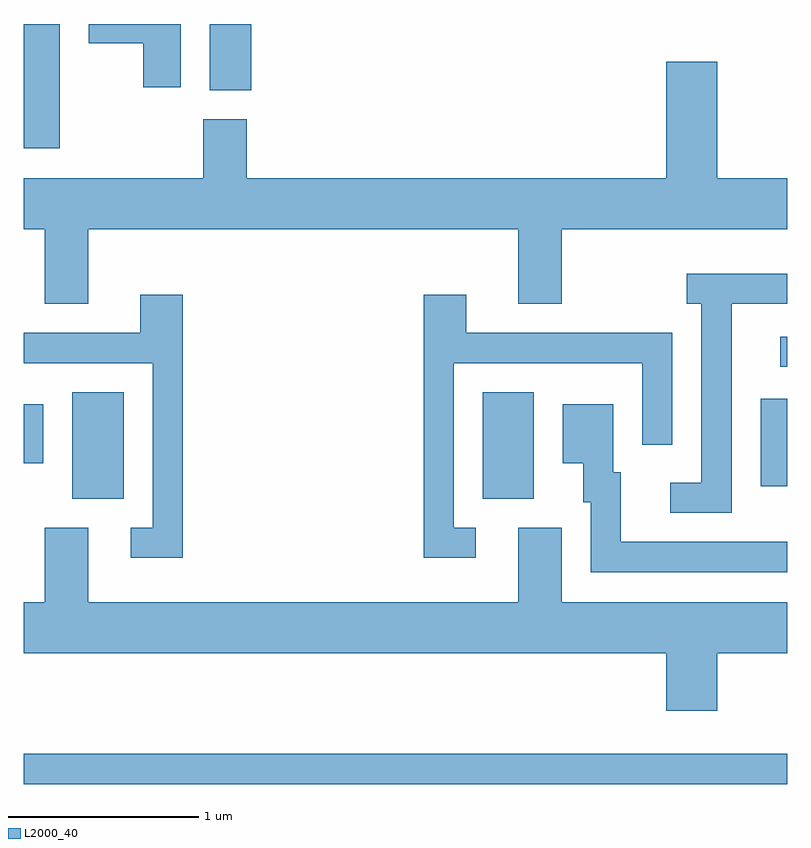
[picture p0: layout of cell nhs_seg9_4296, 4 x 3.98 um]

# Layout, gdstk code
import gdstk
lib = gdstk.Library(unit=1e-6, precision=1e-09)
def R(c, l, rs):  # rectangles x0, y0, x1, y1
    for r in rs: c.add(gdstk.rectangle(r[:2], r[2:], *l))
def P(c, l, *ps):  # polygons
    for p in ps: c.add(gdstk.Polygon(p, *l))
L2000_40 = (2000, 40)

nhs_seg9_4296 = lib.new_cell('nhs_seg9_4296')
R(nhs_seg9_4296, L2000_40, [(311.611,2004.451,315.611,2004.609), (311.866,2005.946,312.134,2006.504), (314.016,2005.946,314.284,2006.504), (315.471,2006.011,315.611,2006.469), (311.611,2006.131,311.714,2006.439), (315.573,2006.636,315.611,2006.794), (311.611,2007.781,311.799,2008.432), (312.586,2008.086,312.804,2008.432), (313.316,2008.431,313.944,2008.432)])
P(nhs_seg9_4296, L2000_40, [(312.434,2008.432),(311.951,2008.432),(311.951,2008.331),(312.236,2008.331),(312.236,2008.101),(312.434,2008.101)],
  [(311.949,2007.356),(314.201,2007.356),(314.201,2006.966),(314.429,2006.966),(314.429,2007.356),(315.611,2007.356),(315.611,2007.624),(315.244,2007.624),(315.244,2008.234),(314.976,2008.234),(314.976,2007.624),(312.779,2007.624),(312.779,2007.934),(312.551,2007.934),(312.551,2007.624),(311.611,2007.624),(311.611,2007.356),(311.721,2007.356),(311.721,2006.966),(311.949,2006.966)],
  [(315.319,2006.966),(315.611,2006.966),(315.611,2007.124),(315.083,2007.124),(315.083,2006.966),(315.161,2006.966),(315.161,2006.029),(314.998,2006.029),(314.998,2005.871),(315.319,2005.871)],
  [(313.978,2005.794),(313.864,2005.794),(313.864,2006.656),(314.851,2006.656),(314.851,2006.228),(315.009,2006.228),(315.009,2006.814),(313.929,2006.814),(313.929,2007.014),(313.706,2007.014),(313.706,2005.636),(313.978,2005.636)],
  [(312.444,2007.014),(312.221,2007.014),(312.221,2006.814),(311.611,2006.814),(311.611,2006.656),(312.286,2006.656),(312.286,2005.794),(312.173,2005.794),(312.173,2005.636),(312.444,2005.636)],
  [(315.611,2005.719),(314.739,2005.719),(314.739,2006.084),(314.699,2006.084),(314.699,2006.439),(314.436,2006.439),(314.436,2006.131),(314.541,2006.131),(314.541,2005.926),(314.581,2005.926),(314.581,2005.561),(315.611,2005.561)],
  [(315.244,2005.136),(315.611,2005.136),(315.611,2005.404),(314.429,2005.404),(314.429,2005.794),(314.201,2005.794),(314.201,2005.404),(311.949,2005.404),(311.949,2005.794),(311.721,2005.794),(311.721,2005.404),(311.611,2005.404),(311.611,2005.136),(314.976,2005.136),(314.976,2004.836),(315.244,2004.836)])

lib.write_gds('nhs_seg9_4296.gds')
